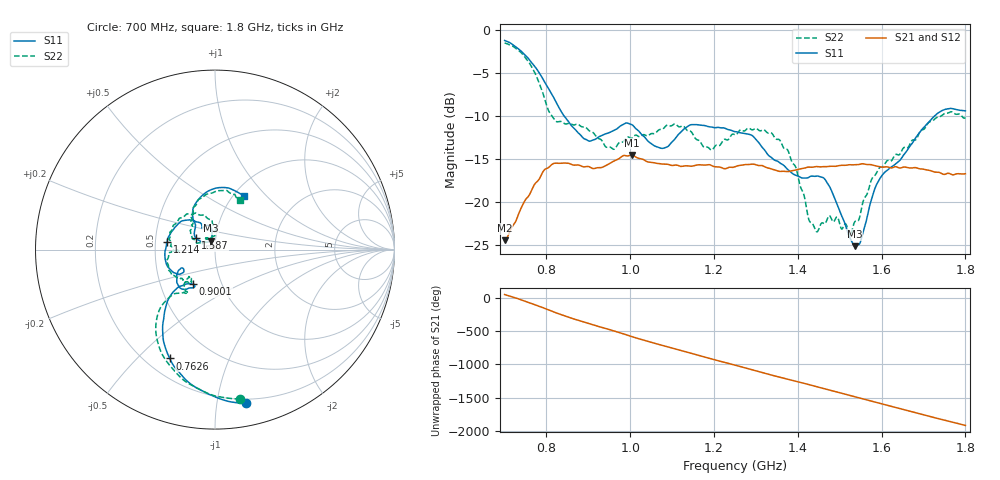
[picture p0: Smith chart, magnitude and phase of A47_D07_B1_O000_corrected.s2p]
! Created with skrf 1.9.0 (http://scikit-rf.org).
# Hz S RI R 50.0
!freq ReS11 ImS11 ReS21 ImS21 ReS12 ImS12 ReS22 ImS22
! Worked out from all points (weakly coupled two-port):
!   1601 points, 700 MHz to 1.8 GHz, reference 50 ohm
!   highest |S21| = -14.51 dB at 1.003 GHz (marker M1); lowest = -24.4 dB at 700.7 MHz (marker M2)
!   lowest |S11| = -25.1 dB at 1.536 GHz (marker M3), VSWR 1.12, Z = 47.4 + j4.73 ohm
!   |S11| at or under -10 dB: 842.5 MHz to 1.726 GHz (883.2 MHz wide, 68.8 % of centre)
!   |S22| runs from -23.8 to -1.5 dB; largest |S21 - S12| = 0.0035
!   S11 on the Smith chart (normalised r, x): 700 MHz: 0.17, -1.21; 762.6 MHz: 0.29, -0.63; 900.1 MHz: 0.73, -0.30; 1.214 GHz: 0.58, +0.05; 1.587 GHz: 0.80, +0.10; 1.8 GHz: 1.12, +0.75
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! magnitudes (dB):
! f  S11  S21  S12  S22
! 700 MHz  -1.2  -24.4  -24.2  -1.5
! 700.7 MHz  -1.2  -24.4  -24.1  -1.5
! 762.6 MHz  -3.6  -18.8  -18.8  -4.1
! 818.2 MHz  -7.9  -15.5  -15.6  -10.4
! 883.6 MHz  -12.3  -15.8  -15.7  -11.2
! 900.1 MHz  -12.9  -15.8  -15.9  -11.6
! 958.5 MHz  -11.7  -15.3  -15.3  -13.8
! 1.003 GHz  -11.0  -14.5  -14.6  -12.6
! 1.067 GHz  -13.6  -15.5  -15.5  -11.6
! 1.143 GHz  -11.0  -15.8  -15.8  -11.7
! 1.214 GHz  -11.3  -15.9  -15.9  -13.4
! 1.25 GHz  -11.8  -15.9  -15.8  -12.2
! 1.357 GHz  -15.4  -16.4  -16.3  -12.8
! 1.395 GHz  -16.9  -16.3  -16.2  -15.9
! 1.434 GHz  -17.0  -15.9  -15.9  -22.4
! 1.471 GHz  -17.8  -15.9  -15.8  -21.9
! 1.536 GHz  -25.1  -15.6  -15.7  -22.3
! 1.55 GHz  -24.5  -15.6  -15.6  -21.1
! 1.587 GHz  -18.1  -15.8  -15.8  -16.7
! 1.617 GHz  -16.1  -15.9  -15.9  -15.2
! 1.733 GHz  -9.7  -16.5  -16.5  -10.1
! 1.8 GHz  -9.4  -16.7  -16.7  -10.2
